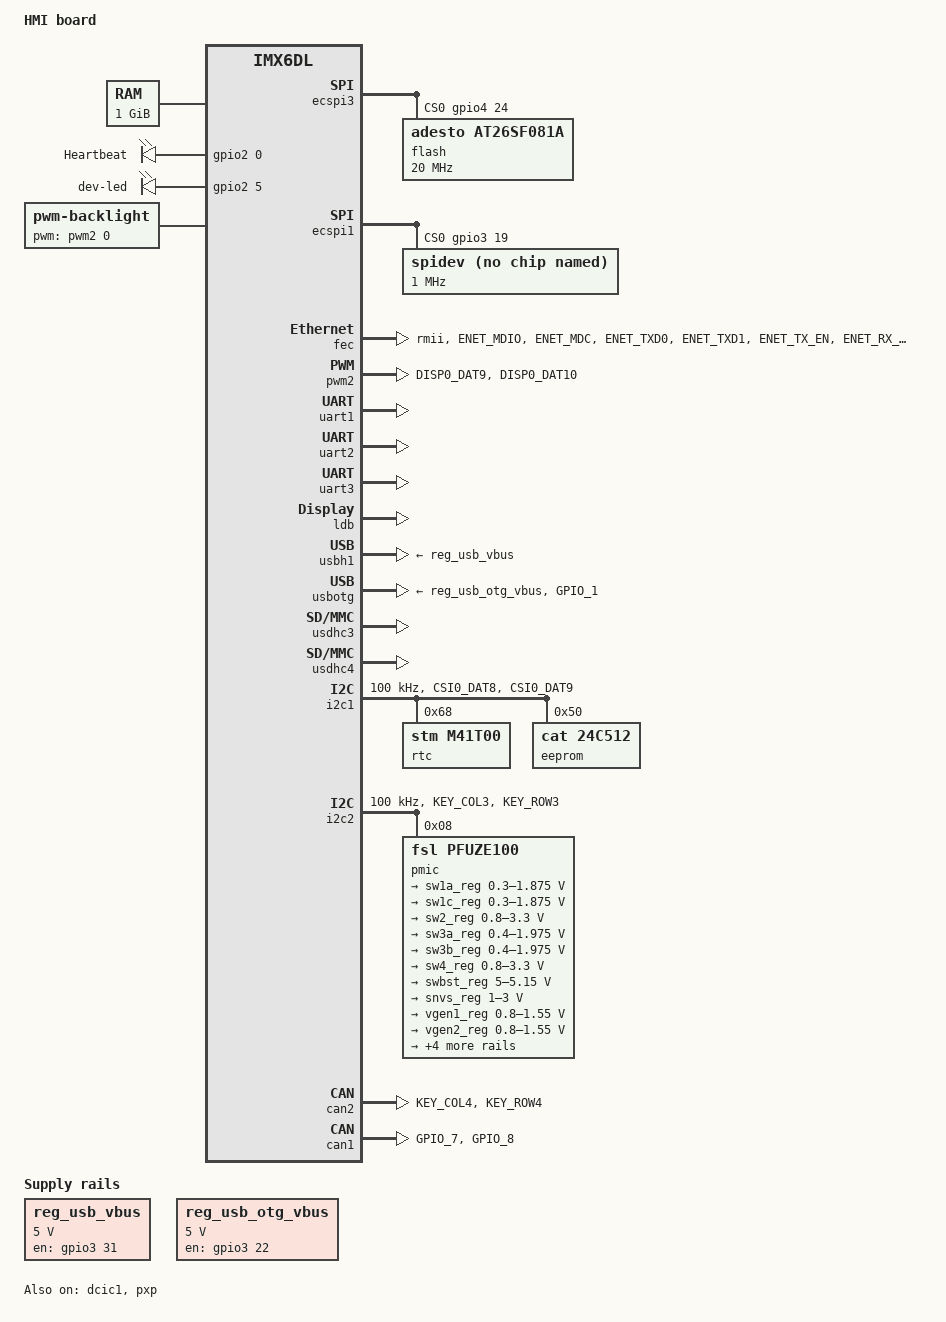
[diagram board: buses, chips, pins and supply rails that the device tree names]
/*
 * Copyright (C) 2013-2014 Freescale Semiconductor, Inc.
 *
 * This program is free software; you can redistribute it and/or modify
 * it under the terms of the GNU General Public License version 2 as
 * published by the Free Software Foundation.
 */

/dts-v1/;

#include "imx6dl.dtsi"


/ {
	model = "HMI board";
	compatible = "fsl,imx6dl-sabresd", "fsl,imx6dl";
};

/ {
	aliases {
		mxcfb0 = &mxcfb1;
	};

	memory {
		reg = <0x10000000 0x40000000>;
	};
	
	leds {
		compatible = "gpio-leds";
        status = "okay";

		dev-led-1 {
            label = "Heartbeat";
			gpios = <&gpio2 0 0>;
            linux,default-trigger = "heartbeat";
            default-state = "on";
		};
        
        dev-led-2 {
            label = "dev-led";
			gpios = <&gpio2 5 0>;
            default-state = "keep";
		};
        
	};

	regulators {
		compatible = "simple-bus";
		#address-cells = <1>;
		#size-cells = <0>;

		reg_usb_vbus: regulator@0 {
			compatible = "regulator-fixed";
			reg = <0>;
			regulator-name = "usb_vbus";
			regulator-min-microvolt = <5000000>;
			regulator-max-microvolt = <5000000>;
			gpio = <&gpio3 31 0>;
			enable-active-high;
		};
        
        reg_usb_otg_vbus: regulator@1 {
			compatible = "regulator-fixed";
			reg = <1>;
			regulator-name = "usb_otg_vbus";
			regulator-min-microvolt = <5000000>;
			regulator-max-microvolt = <5000000>;
			gpio = <&gpio3 22 0>;
			enable-active-high;
		};

	};


	mxcfb1: fb@0 {
		compatible = "fsl,mxc_sdc_fb";
		disp_dev = "ldb";
		interface_pix_fmt = "RGB24";
		mode_str ="LDB-XGA";
		default_bpp = <24>;
		int_clk = <0>;
		late_init = <0>;
		status = "okay";
	};
    

	backlight {
		compatible = "pwm-backlight";
		pwms = <&pwm2 0 50000>;
		brightness-levels = <0 4 8 16 32 64 128 255>;
		default-brightness-level = <5>;
	};

};


&cpu0 {
	arm-supply = <&sw1a_reg>;
	soc-supply = <&sw1c_reg>;
};



&ecspi3 {
	fsl,spi-num-chipselects = <1>;
	cs-gpios = <&gpio4 24 0>;
	status = "okay";

	flash: at26sf081a {
		#address-cells = <1>;
		#size-cells = <1>;
		compatible = "adesto,at26sf081a";
		spi-max-frequency = <20000000>;
		reg = <0>;
        
        uboot@400 {
            label = "U-boot";
            reg = <0x400 0x7FFFC>;        
        };
        
        scratch@80000 {
            label = "Scratch area";
            reg = <0x80000 0x80000>;        
        };
        
        
	};
};


&ecspi2 {
	fsl,spi-num-chipselects = <1>;
	cs-gpios = <&gpio5 12 0>;
	pinctrl-names = "default";
	status = "disabled";
};

&ecspi1 {
	fsl,spi-num-chipselects = <3>;
	cs-gpios = <&gpio3 19 0>;
	pinctrl-names = "default";
	status = "okay";    
    
    spidev@0x00 {
        compatible = "rohm,dh2228fv";
        spi-max-frequency = <1000000>;
        reg = <0>;
    };
};


&fec {
	pinctrl-names = "default";
	pinctrl-0 = <&pinctrl_enet_mii_1>;
	phy-mode = "rmii";
	status = "okay";
    
    pinctrl_enet_mii_1: enet-mii-1 {
        fsl,pins = <
            MX6QDL_PAD_ENET_MDIO__ENET_MDIO      0x80000000
            MX6QDL_PAD_ENET_MDC__ENET_MDC        0x80000000
            MX6QDL_PAD_ENET_TXD0__ENET_TX_DATA0  0x80000000
            MX6QDL_PAD_ENET_TXD1__ENET_TX_DATA1  0x80000000
            MX6QDL_PAD_ENET_TX_EN__ENET_TX_EN    0x80000000
            MX6QDL_PAD_ENET_RX_ER__ENET_RX_ER    0x80000000
            MX6QDL_PAD_ENET_RXD0__ENET_RX_DATA0  0x80000000
            MX6QDL_PAD_ENET_RXD1__ENET_RX_DATA1  0x80000000
            MX6QDL_PAD_ENET_CRS_DV__ENET_RX_EN   0x80000000
            MX6QDL_PAD_GPIO_19__ENET_TX_ER       0x80000000
            MX6QDL_PAD_GPIO_16__ENET_REF_CLK     0x80000000
            MX6QDL_PAD_NANDF_CS0__GPIO6_IO11     0x80000000
        >;
    };
};

#if 0
&gpu {
	pu-supply = <&pu_dummy>; /* ldo-bypass:use pu_dummy if VDDSOC share with VDDPU */
};
#endif

&pwm2 {
	pinctrl-names = "default";
	pinctrl-0 = <&pinctrl_pwm2_1>;
	status = "okay";
    
    pinctrl_pwm2_1: pwm2grp-1 {
        fsl,pins = <
            MX6QDL_PAD_DISP0_DAT9__PWM2_OUT 0x80000000
            MX6QDL_PAD_DISP0_DAT10__GPIO4_IO31 0x80000000
        >;
    };
};

&uart1 {
	status = "okay";
};


&uart2 {
	status = "okay";
};

&uart3 {
	status = "okay";
};

&ldb {
	status = "okay";
    
            
    lvds-channel@0 {
        fsl,data-mapping = "spwg";
        fsl,data-width = <24>;
		crtc = "ipu1-di0";
        primary;
        status = "okay";

        display-timings {
            native-mode = <&timing0>;
            timing0: XGA {
                clock-frequency = <65000000>;
                hactive = <1024>;
                vactive = <768>;
                hfront-porch = <40>;
                hback-porch = <220>;
                hsync-len = <60>;
                vback-porch = <21>;
                vfront-porch = <7>;
                vsync-len = <10>;
                hsync-active = <1>;
            };                        
        };
    };
    
	lvds-channel@1 {
		crtc = "ipu1-di1";
        status = "disabled";
	};
};


&dcic1 {
	dcic_id = <0>;
	dcic_mux = "dcic-lvds0";
	status = "okay";
};

&dcic2 {
	dcic_id = <1>;
	dcic_mux = "dcic-lvds1";
	status = "disabled";
};

&usbh1 {
	vbus-supply = <&reg_usb_vbus>;
	status = "okay";
};

&usbotg {
	vbus-supply = <&reg_usb_otg_vbus>;
	pinctrl-names = "default";
	pinctrl-0 = <&pinctrl_usbotg_1>;
	disable-over-current;
	status = "okay";
    
    pinctrl_usbotg_1: usbotggrp-1 {
        fsl,pins = <
            MX6QDL_PAD_GPIO_1__USB_OTG_ID 0x17059
        >;
    };
};

&usdhc3 {
	status = "okay";
};

&usdhc4 {
	status = "okay";
};

&gpc {
	fsl,ldo-bypass = <1>;
};

&pxp {
	status = "okay";
};


&i2c1 {
	clock-frequency = <100000>;
	pinctrl-names = "default";
	pinctrl-0 = <&pinctrl_i2c1_2>;
	status = "okay";

    rtc: m41t00@68 {
        compatible = "stm,m41t00"; /* dallas,ds1340*/
        reg = <0x68>;
    };
    
    eeprom: cat24c512@50 {
        compatible = "cat,24c512";
        reg = <0x50>;
        pagesize = <16>;
    };
    
    pinctrl_i2c1_2: i2c1grp-2 {
        fsl,pins = <
            MX6QDL_PAD_CSI0_DAT8__I2C1_SDA 0x4001b851
            MX6QDL_PAD_CSI0_DAT9__I2C1_SCL 0x4001b851
        >;
    };
};


&i2c2 {
	clock-frequency = <100000>;
	pinctrl-names = "default";
	pinctrl-0 = <&pinctrl_i2c2_2>;
	status = "okay";    
    
	pmic: pfuze100@08 {
		compatible = "fsl,pfuze100";
		reg = <0x08>;
        interrupt-parent = <&gpio7>; /* interrupt on GPIO 3
        interrupts = <13 1>; /* 1 = low-to-high edge triggered */
        pinctrl-names = "default";
        pinctrl-0 = <&pmic_interrupt>;
        
        pmic_interrupt: pmic_interrupt0 {
            fsl,pins = <
                MX6QDL_PAD_GPIO_18__GPIO7_IO13 0x130b1
            >;
        };
		
        regulators {
            // VCORE
			sw1a_reg: sw1ab {
				regulator-min-microvolt = <300000>;
				regulator-max-microvolt = <1875000>;
				regulator-boot-on;
				regulator-always-on;
				regulator-ramp-delay = <6250>;
			};

            // VSOC
			sw1c_reg: sw1c {
				regulator-min-microvolt = <300000>;
				regulator-max-microvolt = <1875000>;
				regulator-boot-on;
				regulator-always-on;
				regulator-ramp-delay = <6250>;
			};

            // 3V3
			sw2_reg: sw2 {
				regulator-min-microvolt = <800000>;
				regulator-max-microvolt = <3300000>;
				regulator-boot-on;
				regulator-always-on;
			};

            // DDR_1V5
			sw3a_reg: sw3a {
				regulator-min-microvolt = <400000>;
				regulator-max-microvolt = <1975000>;
				regulator-boot-on;
				regulator-always-on;
			};

            // unused
			sw3b_reg: sw3b {
				regulator-min-microvolt = <400000>;
				regulator-max-microvolt = <1975000>;
				regulator-boot-on;
				regulator-always-on;
			};

            // 3V15
			sw4_reg: sw4 {
				regulator-min-microvolt = <800000>;
				regulator-max-microvolt = <3300000>;
				regulator-boot-on;
				regulator-always-on;
			};

            // BST_5V
			swbst_reg: swbst {
				regulator-min-microvolt = <5000000>;
				regulator-max-microvolt = <5150000>;
				regulator-boot-on;
				regulator-always-on;
			};

            // NC
			snvs_reg: vsnvs {
				regulator-min-microvolt = <1000000>;
				regulator-max-microvolt = <3000000>;
			};

            // NC
			vref_reg: vrefddr {
				regulator-boot-on;
				regulator-always-on;
			};

            // RGMII -> unused
			vgen1_reg: vgen1 {
				regulator-min-microvolt = <800000>;
				regulator-max-microvolt = <1550000>;
			};

			
            // PCI-E -> unused
			vgen2_reg: vgen2 {
				regulator-min-microvolt = <800000>;
				regulator-max-microvolt = <1550000>;
			};

            // NC
			vgen3_reg: vgen3 {
				regulator-min-microvolt = <1800000>;
				regulator-max-microvolt = <3300000>;
			};

            // NC
			vgen4_reg: vgen4 {
				regulator-min-microvolt = <1800000>;
				regulator-max-microvolt = <3300000>;
				regulator-boot-on;
				regulator-always-on;
			};

            // on for now, to be confirmed
			vgen5_reg: vgen5 {
				regulator-min-microvolt = <1800000>;
				regulator-max-microvolt = <3300000>;
				regulator-boot-on;
				regulator-always-on;
			};

			vgen6_reg: vgen6 {
				regulator-min-microvolt = <1800000>;
				regulator-max-microvolt = <3300000>;
				regulator-boot-on;
				regulator-always-on;
			};
		};
	};
    
    pinctrl_i2c2_2: i2c2grp-2 {
        fsl,pins = <
            MX6QDL_PAD_KEY_COL3__I2C2_SCL 0x4001b851
            MX6QDL_PAD_KEY_ROW3__I2C2_SDA 0x4001b851
        >;
    };
};



&can2 {  
    pinctrl-names = "default";
    pinctrl-0 = <&pinctrl_flexcan2_3>;
    status = "okay"; 
};



&can1 {    
    pinctrl-names = "default";
    pinctrl-0 = <&pinctrl_flexcan1_3>;
    status = "okay";     
};


&iomuxc {
	pinctrl-names = "default";
	pinctrl-0 = <&pinctrl_hog_1>;

	hog {
		pinctrl_hog_1: hoggrp-1 {
			fsl,pins = <
            // LEDS
                MX6QDL_PAD_NANDF_D0__GPIO2_IO00 0x80000000
                MX6QDL_PAD_NANDF_D5__GPIO2_IO05 0x80000000
            // SPI 2        
            MX6QDL_PAD_DISP0_DAT17__ECSPI2_MISO 0x10051
            MX6QDL_PAD_DISP0_DAT16__ECSPI2_MOSI 0x10051
            MX6QDL_PAD_DISP0_DAT19__ECSPI2_SCLK 0x10051
            MX6QDL_PAD_DISP0_DAT18__GPIO5_IO12 0x1b051
                        
            MX6QDL_PAD_DISP0_DAT3__GPIO4_IO24 0x80000000
            
            // SPI 3
            MX6QDL_PAD_EIM_D16__ECSPI1_SCLK 0x10051
            MX6QDL_PAD_EIM_D17__ECSPI1_MISO 0x10051
            MX6QDL_PAD_EIM_D18__ECSPI1_MOSI 0x10051
            MX6QDL_PAD_EIM_D19__GPIO3_IO19  0x1b051
            
            // Touch Control reset
            MX6QDL_PAD_NANDF_RB0__GPIO6_IO10 0x1f0b0
            
            // USB HOST POWER ENABLE
            MX6QDL_PAD_EIM_D31__GPIO3_IO31 0x80000000
            
            
			>;
		};
	};    

    can1 {

        pinctrl_flexcan1_3: flexcan1grp-3 {
            fsl,pins = <
                MX6QDL_PAD_GPIO_7__FLEXCAN1_TX 0x1b0b1 
                MX6QDL_PAD_GPIO_8__FLEXCAN1_RX 0x1b0b1 
            >;
        };

    };
    
    can2 {
        pinctrl_flexcan2_3: flexcan2grp-3 {
            fsl,pins = <
                MX6QDL_PAD_KEY_COL4__FLEXCAN2_TX 0x1b0b1 
                MX6QDL_PAD_KEY_ROW4__FLEXCAN2_RX 0x1b0b1 
            >;
        };    
    
    };
};

    

    
    

    

   
